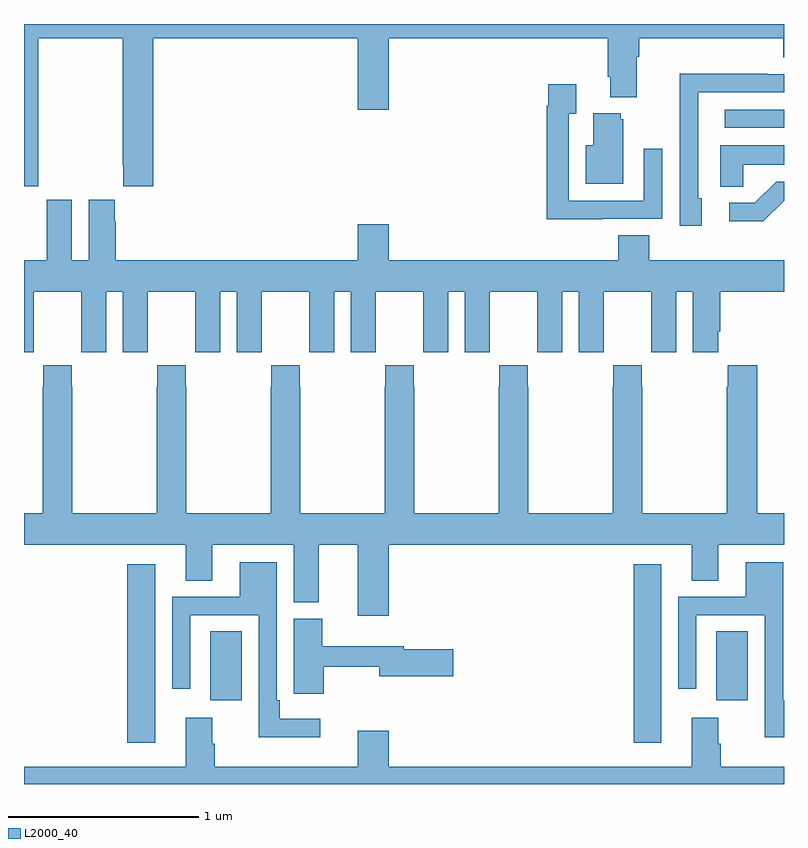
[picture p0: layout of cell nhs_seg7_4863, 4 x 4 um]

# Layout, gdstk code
import gdstk
lib = gdstk.Library(unit=1e-6, precision=1e-09)
def R(c, l, rs):  # rectangles x0, y0, x1, y1
    for r in rs: c.add(gdstk.rectangle(r[:2], r[2:], *l))
def P(c, l, *ps):  # polygons
    for p in ps: c.add(gdstk.Polygon(p, *l))
L2000_40 = (2000, 40)

nhs_seg7_4863 = lib.new_cell('nhs_seg7_4863')
R(nhs_seg7_4863, L2000_40, [(415.544,1022.217,415.69,1023.157), (418.208,1022.217,418.354,1023.157), (415.979,1022.442,416.146,1022.804), (418.643,1022.442,418.81,1022.804), (418.689,1025.454,419,1025.55)])
P(nhs_seg7_4863, L2000_40, [(415,1025.145),(415.074,1025.145),(415.074,1025.924),(415.519,1025.924),(415.519,1025.257),(415.523,1025.257),(415.523,1025.145),(415.679,1025.145),(415.679,1025.924),(416.756,1025.924),(416.756,1025.55),(416.92,1025.55),(416.92,1025.924),(418.073,1025.924),(418.073,1025.722),(418.085,1025.722),(418.085,1025.615),(418.225,1025.615),(418.225,1025.828),(418.238,1025.828),(418.238,1025.924),(418.997,1025.924),(418.997,1025.825),(419,1025.825),(419,1026),(415,1026)],
  [(418.567,1025.082),(418.548,1025.082),(418.548,1025.64),(419,1025.64),(419,1025.736),(418.913,1025.736),(418.913,1025.738),(418.45,1025.738),(418.45,1025.431),(418.452,1025.431),(418.452,1024.938),(418.567,1024.938)],
  [(418.043,1024.974),(418.359,1024.974),(418.359,1025.344),(418.263,1025.344),(418.263,1025.07),(417.867,1025.07),(417.867,1025.527),(417.907,1025.527),(417.907,1025.683),(417.759,1025.683),(417.759,1025.57),(417.751,1025.57),(417.751,1024.973),(418.043,1024.973)],
  [(418.153,1025.499),(418.142,1025.499),(418.142,1025.53),(417.995,1025.53),(417.995,1025.362),(417.956,1025.362),(417.956,1025.159),(418.153,1025.159)],
  [(418.785,1025.258),(419,1025.258),(419,1025.362),(418.664,1025.362),(418.664,1025.143),(418.785,1025.143)],
  [(419,1025.069),(419,1025.169),(418.958,1025.169),(418.847,1025.058),(418.713,1025.058),(418.713,1024.961),(418.891,1024.961)],
  [(415.484,1024.961),(415.477,1024.961),(415.477,1025.074),(415.34,1025.074),(415.34,1024.756),(415.252,1024.756),(415.252,1025.074),(415.121,1025.074),(415.121,1024.756),(415,1024.756),(415,1024.272),(415.05,1024.272),(415.05,1024.384),(415.051,1024.384),(415.051,1024.592),(415.301,1024.592),(415.301,1024.384),(415.302,1024.384),(415.302,1024.272),(415.432,1024.272),(415.432,1024.592),(415.52,1024.592),(415.52,1024.272),(415.65,1024.272),(415.65,1024.384),(415.651,1024.384),(415.651,1024.592),(415.901,1024.592),(415.901,1024.384),(415.902,1024.384),(415.902,1024.272),(416.032,1024.272),(416.032,1024.592),(416.12,1024.592),(416.12,1024.272),(416.25,1024.272),(416.25,1024.384),(416.251,1024.384),(416.251,1024.592),(416.501,1024.592),(416.501,1024.384),(416.502,1024.384),(416.502,1024.272),(416.632,1024.272),(416.632,1024.592),(416.72,1024.592),(416.72,1024.272),(416.85,1024.272),(416.85,1024.384),(416.851,1024.384),(416.851,1024.592),(417.101,1024.592),(417.101,1024.384),(417.102,1024.384),(417.102,1024.272),(417.232,1024.272),(417.232,1024.592),(417.32,1024.592),(417.32,1024.272),(417.45,1024.272),(417.45,1024.384),(417.451,1024.384),(417.451,1024.592),(417.701,1024.592),(417.701,1024.384),(417.702,1024.384),(417.702,1024.272),(417.832,1024.272),(417.832,1024.592),(417.92,1024.592),(417.92,1024.272),(418.05,1024.272),(418.05,1024.384),(418.051,1024.384),(418.051,1024.592),(418.301,1024.592),(418.301,1024.384),(418.302,1024.384),(418.302,1024.272),(418.432,1024.272),(418.432,1024.592),(418.52,1024.592),(418.52,1024.272),(418.654,1024.272),(418.654,1024.384),(418.664,1024.384),(418.664,1024.592),(419,1024.592),(419,1024.756),(418.292,1024.756),(418.292,1024.889),(418.127,1024.889),(418.127,1024.756),(416.92,1024.756),(416.92,1024.945),(416.756,1024.945),(416.756,1024.756),(415.484,1024.756)],
  [(416.901,1024.091),(416.899,1024.091),(416.899,1023.424),(416.454,1023.424),(416.454,1024.091),(416.451,1024.091),(416.451,1024.204),(416.301,1024.204),(416.301,1024.091),(416.299,1024.091),(416.299,1023.424),(415.854,1023.424),(415.854,1024.091),(415.851,1024.091),(415.851,1024.204),(415.701,1024.204),(415.701,1024.091),(415.699,1024.091),(415.699,1023.424),(415.254,1023.424),(415.254,1024.091),(415.251,1024.091),(415.251,1024.204),(415.101,1024.204),(415.101,1024.091),(415.099,1024.091),(415.099,1023.424),(415,1023.424),(415,1023.26),(415.85,1023.26),(415.85,1023.07),(415.99,1023.07),(415.99,1023.26),(416.42,1023.26),(416.42,1022.956),(416.551,1022.956),(416.551,1023.26),(416.756,1023.26),(416.756,1022.886),(416.92,1022.886),(416.92,1023.26),(418.514,1023.26),(418.514,1023.07),(418.654,1023.07),(418.654,1023.26),(419,1023.26),(419,1023.424),(418.859,1023.424),(418.859,1024.204),(418.705,1024.204),(418.705,1024.091),(418.699,1024.091),(418.699,1023.424),(418.254,1023.424),(418.254,1024.091),(418.251,1024.091),(418.251,1024.204),(418.101,1024.204),(418.101,1024.091),(418.099,1024.091),(418.099,1023.424),(417.654,1023.424),(417.654,1024.091),(417.651,1024.091),(417.651,1024.204),(417.501,1024.204),(417.501,1024.091),(417.499,1024.091),(417.499,1023.424),(417.054,1023.424),(417.054,1024.091),(417.051,1024.091),(417.051,1024.204),(416.901,1024.204)],
  [(416.56,1022.344),(416.347,1022.344),(416.347,1022.44),(416.331,1022.44),(416.331,1023.166),(416.135,1023.166),(416.135,1022.985),(415.779,1022.985),(415.779,1022.502),(415.875,1022.502),(415.875,1022.889),(416.235,1022.889),(416.235,1022.246),(416.56,1022.246)],
  [(419,1022.44),(418.995,1022.44),(418.995,1023.166),(418.799,1023.166),(418.799,1022.985),(418.443,1022.985),(418.443,1022.502),(418.539,1022.502),(418.539,1022.889),(418.899,1022.889),(418.899,1022.246),(419,1022.246)],
  [(416.577,1022.616),(416.87,1022.616),(416.87,1022.566),(417.259,1022.566),(417.259,1022.708),(416.998,1022.708),(416.998,1022.725),(416.569,1022.725),(416.569,1022.871),(416.42,1022.871),(416.42,1022.587),(416.421,1022.587),(416.421,1022.475),(416.577,1022.475)],
  [(419,1022.092),(418.667,1022.092),(418.667,1022.213),(418.654,1022.213),(418.654,1022.35),(418.514,1022.35),(418.514,1022.092),(416.92,1022.092),(416.92,1022.281),(416.756,1022.281),(416.756,1022.092),(416.003,1022.092),(416.003,1022.213),(415.99,1022.213),(415.99,1022.35),(415.85,1022.35),(415.85,1022.092),(415,1022.092),(415,1022),(419,1022)])

lib.write_gds('nhs_seg7_4863.gds')
